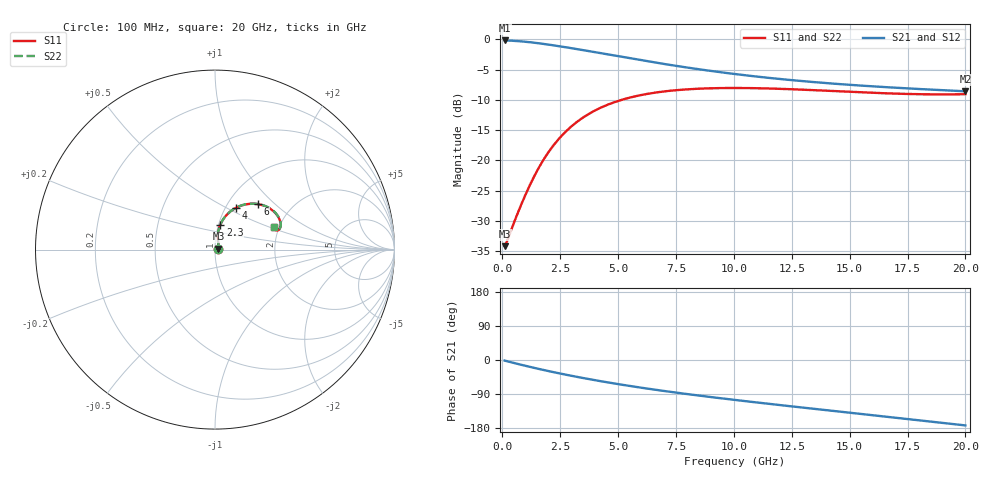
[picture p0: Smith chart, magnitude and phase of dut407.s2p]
! Touchstone file exported from HFSS 2024.1.0
!  File:  C:/UserFiles/LocalFiles/RDL_TSV_Batchsim/temp_RDL_TSV_407_1779712933.aedt
!  Generated:  09:04:22 PM May 25, 2026
!  Design:  RDL_TSV
!  Project:  temp_RDL_TSV_407_1779712933
!  Setup:  Setup1
!  Solution:  Sweep
! Variables:
!  dtsv = 9.21um
!  hbump = 3um
!  htsv = 64.82um
!  ldown = 354.11um
!  lrdl = 342.77um
!  p = 40
!  p1 = 57.58um
!  rhole = 10um
!  subl = 2433.41um
!  t = 450um
!  tdown = 3.14um
!  trdl = 2.54um
!  viad = 10um
!  wdown = 16.73um
!  wrdl = 16.89um
!  xbump = 18um
# GHz S MA R 50.000000
! Terminal data exported
! Port[1] = TM1_1_T1
! Port[2] = TM1_4_T1
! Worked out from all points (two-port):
!   200 points, 100 MHz to 20 GHz, reference 50 ohm
!   highest |S21| = -0.17 dB at 100 MHz (marker M1); lowest = -8.6 dB at 20 GHz (marker M2)
!   |S21| within 3 dB of the highest: start of sweep to 5.598 GHz
!   lowest |S11| = -34.2 dB at 100 MHz (marker M3), VSWR 1.04, Z = 51.9 + j0.511 ohm
!   |S11| at or under -10 dB: start of sweep to 5.147 GHz
!   |S22| runs from -34.2 to -8.0 dB; largest |S21 - S12| = 9.7e-15
!   S11 on the Smith chart (normalised r, x): 100 MHz: 1.04, +0.01; 2.3 GHz: 1.02, +0.28; 4 GHz: 1.11, +0.55; 6 GHz: 1.36, +0.78; 20 GHz: 1.88, +0.55
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0.1  0.01953 14.6  0.9808 -1.6  0.9808 -1.6  0.01953 14.6
! Gamma 0 0 0 0
! Port Impedance 50 0 50 0
0.2  0.02138 27.1  0.9798 -3.2  0.9798 -3.2  0.02138 27.1
0.7  0.03801 61.2  0.9679 -10.9  0.9679 -10.9  0.03801 61.3
1  0.05194 71.1  0.9569 -15.3  0.9569 -15.3  0.05196 71.2
1.3  0.06897 76.6  0.9435 -19.7  0.9435 -19.7  0.06902 76.7
1.8  0.1027 79.5  0.9175 -26.6  0.9175 -26.6  0.1028 79.6
2.3  0.1399 78.0  0.8885 -33.2  0.8885 -33.2  0.1401 78.1
2.9  0.1848 73.6  0.8521 -40.7  0.8521 -40.7  0.1852 73.7
3.5  0.2268 68.3  0.8152 -47.7  0.8152 -47.7  0.2273 68.4
4  0.2583 63.6  0.7849 -53.2  0.7849 -53.2  0.2589 63.7
4.9  0.3055 55.6  0.7324 -62.6  0.7324 -62.6  0.3062 55.7
6  0.347 46.9  0.6737 -73.1  0.6737 -73.1  0.348 47.0
6.8  0.3677 41.5  0.6353 -80.2  0.6353 -80.2  0.3687 41.6
7.6  0.3819 36.7  0.6009 -86.8  0.6009 -86.8  0.383 36.9
8.4  0.3908 32.6  0.5701 -93.2  0.5701 -93.2  0.3919 32.7
10.1  0.3968 25.7  0.5161 -105.8  0.5161 -105.8  0.3981 25.8
11.7  0.3921 21.2  0.4769 -117.0  0.4769 -117.0  0.3934 21.3
13.4  0.3812 18.3  0.4449 -128.4  0.4449 -128.4  0.3825 18.4
15  0.3691 17.1  0.4215 -139.1  0.4215 -139.1  0.3704 17.2
16.7  0.3579 17.4  0.4018 -150.4  0.4018 -150.4  0.3592 17.5
18.4  0.3517 19.0  0.3856 -161.8  0.3856 -161.8  0.353 19.1
20  0.3527 21.1  0.3726 -172.6  0.3726 -172.6  0.3539 21.2
